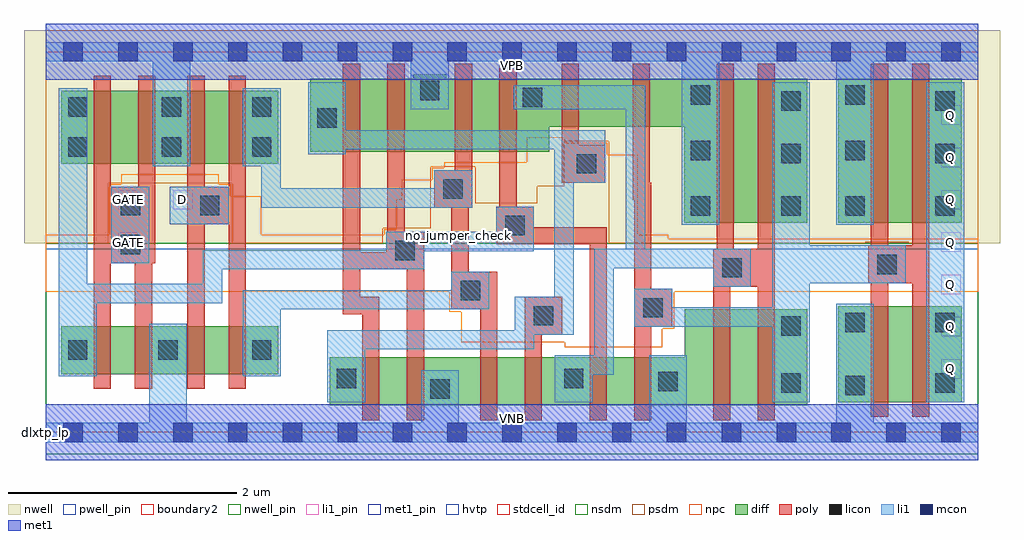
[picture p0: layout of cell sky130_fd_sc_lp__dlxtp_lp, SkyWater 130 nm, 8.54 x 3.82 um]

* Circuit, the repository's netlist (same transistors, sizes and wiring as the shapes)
* Copyright 2020 The SkyWater PDK Authors
*
* Licensed under the Apache License, Version 2.0 (the "License");
* you may not use this file except in compliance with the License.
* You may obtain a copy of the License at
*
*     https://www.apache.org/licenses/LICENSE-2.0
*
* Unless required by applicable law or agreed to in writing, software
* distributed under the License is distributed on an "AS IS" BASIS,
* WITHOUT WARRANTIES OR CONDITIONS OF ANY KIND, either express or implied.
* See the License for the specific language governing permissions and
* limitations under the License.
*
* SPDX-License-Identifier: Apache-2.0

.SUBCKT sky130_fd_sc_lp__dlxtp_lp D GATE VGND VNB VPB VPWR Q
*.PININFO D:I GATE:I VGND:I VNB:I VPB:I VPWR:I Q:O
MI635 clkpos clkneg net086 VPB sky130_fd_pr__pfet_01v8_hvt m=1 w=0.64U l=0.15U mult=1
+ sa=0.265 sb=0.265 sd=0.28 area=0.063 perim=1.14
MI17 M0 clkneg net51 VPB sky130_fd_pr__pfet_01v8_hvt m=1 w=0.64U l=0.15U mult=1
+ sa=0.265 sb=0.265 sd=0.28 area=0.063 perim=1.14
MI650 Q m1 net035 VPB sky130_fd_pr__pfet_01v8_hvt m=1 w=1.26U l=0.15U mult=1 sa=0.265
+ sb=0.265 sd=0.28 area=0.063 perim=1.14
MI633 clkneg GATE net078 VPB sky130_fd_pr__pfet_01v8_hvt m=1 w=0.64U l=0.15U mult=1
+ sa=0.265 sb=0.265 sd=0.28 area=0.063 perim=1.14
MI18 net51 db VPWR VPB sky130_fd_pr__pfet_01v8_hvt m=1 w=0.64U l=0.15U mult=1 sa=0.265
+ sb=0.265 sd=0.28 area=0.063 perim=1.14
MI653 net59 m1 VPWR VPB sky130_fd_pr__pfet_01v8_hvt m=1 w=0.42U l=0.15U mult=1
+ sa=0.265 sb=0.265 sd=0.28 area=0.063 perim=1.14
MI651 M0 clkpos net59 VPB sky130_fd_pr__pfet_01v8_hvt m=1 w=0.42U l=0.15U mult=1
+ sa=0.265 sb=0.265 sd=0.28 area=0.063 perim=1.14
MI655 m1 M0 net062 VPB sky130_fd_pr__pfet_01v8_hvt m=1 w=1.26U l=0.15U mult=1 sa=0.265
+ sb=0.265 sd=0.28 area=0.063 perim=1.14
MI638 db D net047 VPB sky130_fd_pr__pfet_01v8_hvt m=1 w=0.64U l=0.15U mult=1 sa=0.265
+ sb=0.265 sd=0.28 area=0.063 perim=1.14
MI29 net035 m1 VPWR VPB sky130_fd_pr__pfet_01v8_hvt m=1 w=1.26U l=0.15U mult=1
+ sa=0.265 sb=0.265 sd=0.28 area=0.063 perim=1.14
MI27 net062 M0 VPWR VPB sky130_fd_pr__pfet_01v8_hvt m=1 w=1.26U l=0.15U mult=1
+ sa=0.265 sb=0.265 sd=0.28 area=0.063 perim=1.14
MI25 net047 D VPWR VPB sky130_fd_pr__pfet_01v8_hvt m=1 w=0.64U l=0.15U mult=1 sa=0.265
+ sb=0.265 sd=0.28 area=0.063 perim=1.14
MI22 net086 clkneg VPWR VPB sky130_fd_pr__pfet_01v8_hvt m=1 w=0.64U l=0.15U mult=1
+ sa=0.265 sb=0.265 sd=0.28 area=0.063 perim=1.14
MI21 net078 GATE VPWR VPB sky130_fd_pr__pfet_01v8_hvt m=1 w=0.64U l=0.15U mult=1
+ sa=0.265 sb=0.265 sd=0.28 area=0.063 perim=1.14
MI634 clkneg GATE net0111 VNB sky130_fd_pr__nfet_01v8 m=1 w=0.42U l=0.15U mult=1
+ sa=0.265 sb=0.265 sd=0.28 area=0.063 perim=1.14
MI649 Q m1 net094 VNB sky130_fd_pr__nfet_01v8 m=1 w=0.84U l=0.15U mult=1 sa=0.265
+ sb=0.265 sd=0.28 area=0.063 perim=1.14
MI23 net0111 GATE VGND VNB sky130_fd_pr__nfet_01v8 m=1 w=0.42U l=0.15U mult=1 sa=0.265
+ sb=0.265 sd=0.28 area=0.063 perim=1.14
MI652 M0 clkneg net102 VNB sky130_fd_pr__nfet_01v8 m=1 w=0.42U l=0.15U mult=1 sa=0.265
+ sb=0.265 sd=0.28 area=0.063 perim=1.14
MI654 net102 m1 VGND VNB sky130_fd_pr__nfet_01v8 m=1 w=0.42U l=0.15U mult=1 sa=0.265
+ sb=0.265 sd=0.28 area=0.063 perim=1.14
MI656 m1 M0 net099 VNB sky130_fd_pr__nfet_01v8 m=1 w=0.84U l=0.15U mult=1 sa=0.265
+ sb=0.265 sd=0.28 area=0.063 perim=1.14
MI26 net0103 D VGND VNB sky130_fd_pr__nfet_01v8 m=1 w=0.42U l=0.15U mult=1 sa=0.265
+ sb=0.265 sd=0.28 area=0.063 perim=1.14
MI636 clkpos clkneg net0126 VNB sky130_fd_pr__nfet_01v8 m=1 w=0.42U l=0.15U mult=1
+ sa=0.265 sb=0.265 sd=0.28 area=0.063 perim=1.14
MI637 db D net0103 VNB sky130_fd_pr__nfet_01v8 m=1 w=0.42U l=0.15U mult=1 sa=0.265
+ sb=0.265 sd=0.28 area=0.063 perim=1.14
MI19 M0 clkpos net98 VNB sky130_fd_pr__nfet_01v8 m=1 w=0.42U l=0.15U mult=1 sa=0.265
+ sb=0.265 sd=0.28 area=0.063 perim=1.14
MI20 net98 db VGND VNB sky130_fd_pr__nfet_01v8 m=1 w=0.42U l=0.15U mult=1 sa=0.265
+ sb=0.265 sd=0.28 area=0.063 perim=1.14
MI30 net094 m1 VGND VNB sky130_fd_pr__nfet_01v8 m=1 w=0.84U l=0.15U mult=1 sa=0.265
+ sb=0.265 sd=0.28 area=0.063 perim=1.14
MI28 net099 M0 VGND VNB sky130_fd_pr__nfet_01v8 m=1 w=0.84U l=0.15U mult=1 sa=0.265
+ sb=0.265 sd=0.28 area=0.063 perim=1.14
MI24 net0126 clkneg VGND VNB sky130_fd_pr__nfet_01v8 m=1 w=0.42U l=0.15U mult=1
+ sa=0.265 sb=0.265 sd=0.28 area=0.063 perim=1.14
.ENDS sky130_fd_sc_lp__dlxtp_lp

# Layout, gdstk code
import gdstk
lib = gdstk.Library(unit=1e-6, precision=1e-09)
def R(c, l, rs):  # rectangles x0, y0, x1, y1
    for r in rs: c.add(gdstk.rectangle(r[:2], r[2:], *l))
def A(c, l, x, y, w, h, nx, ny, dx, dy):  # array of equal rectangles
    R(c, l, [(x+i*dx, y+j*dy, x+i*dx+w, y+j*dy+h) for i in range(nx) for j in range(ny)])
def P(c, l, *ps):  # polygons
    for p in ps: c.add(gdstk.Polygon(p, *l))
nwell_pin = (64, 16)
nwell = (64, 20)
diff = (65, 20)
poly = (66, 20)
licon = (66, 44)
li1_pin = (67, 16)
li1 = (67, 20)
mcon = (67, 44)
met1_pin = (68, 16)
met1 = (68, 20)
hvtp = (78, 44)
stdcell_id = (81, 4)
nsdm = (93, 44)
psdm = (94, 20)
npc = (95, 20)
pwell_pin = (122, 16)
boundary2 = (236, 0)

sky130_fd_sc_lp__dlxtp_l = lib.new_cell('sky130_fd_sc_lp__dlxtp_lp')
R(sky130_fd_sc_lp__dlxtp_l, nwell_pin, [(0,3.085,8.16,3.33)])
R(sky130_fd_sc_lp__dlxtp_l, nwell, [(-0.19,1.655,8.35,3.52)])
R(sky130_fd_sc_lp__dlxtp_l, diff, [(6.935,0.265,8.015,1.105), (0.135,0.51,2.035,0.93), (6.935,1.835,8.015,3.095), (0.135,2.35,2.035,2.99)])
P(sky130_fd_sc_lp__dlxtp_l, diff, [(6.665,3.095),(3.505,3.095),(3.505,3.135),(3.215,3.135),(3.215,3.095),(2.315,3.095),(2.315,2.455),(4.405,2.455),(4.405,2.675),(5.585,2.675),(5.585,1.835),(6.665,1.835)],
  [(6.665,1.075),(5.59,1.075),(5.59,0.655),(2.485,0.655),(2.485,0.235),(6.665,0.235)])
P(sky130_fd_sc_lp__dlxtp_l, poly, [(0.96,3.12),(0.81,3.12),(0.81,2.15),(0.57,2.15),(0.57,3.12),(0.42,3.12),(0.42,0.38),(0.57,0.38),(0.57,1.48),(0.78,1.48),(0.78,0.38),(0.93,0.38),(0.93,1.48),(0.96,1.48)],
  [(1.75,3.12),(1.6,3.12),(1.6,2.15),(1.39,2.15),(1.39,3.12),(1.24,3.12),(1.24,0.38),(1.39,0.38),(1.39,1.82),(1.6,1.82),(1.6,0.38),(1.75,0.38)],
  [(3.31,1.755),(3.14,1.755),(3.14,3.225),(2.99,3.225),(2.99,1.755),(2.98,1.755),(2.98,1.575),(2.75,1.575),(2.75,3.225),(2.6,3.225),(2.6,1.035),(2.77,1.035),(2.77,0.105),(2.92,0.105),(2.92,1.185),(2.75,1.185),(2.75,1.425),(3.16,1.425),(3.16,0.105),(3.31,0.105)],
  [(3.95,1.405),(3.7,1.405),(3.7,1.965),(3.73,1.965),(3.73,3.225),(3.58,3.225),(3.58,2.295),(3.4,2.295),(3.4,1.965),(3.55,1.965),(3.55,1.075),(3.8,1.075),(3.8,0.105),(3.95,0.105)],
  [(4.52,1.185),(4.19,1.185),(4.19,0.105),(4.34,0.105),(4.34,0.855),(4.52,0.855)],
  [(4.895,2.515),(4.665,2.515),(4.665,3.225),(4.515,3.225),(4.515,2.185),(4.895,2.185)],
  [(4.91,1.795),(4.27,1.795),(4.27,1.975),(4.12,1.975),(4.12,3.225),(3.97,3.225),(3.97,1.975),(3.94,1.975),(3.94,1.645),(4.76,1.645),(4.76,0.105),(4.91,0.105)],
  [(5.48,1.255),(5.3,1.255),(5.3,2.185),(5.285,2.185),(5.285,3.225),(5.135,3.225),(5.135,2.035),(5.15,2.035),(5.15,0.105),(5.3,0.105),(5.3,0.925),(5.48,0.925)],
  [(6.38,3.225),(6.23,3.225),(6.23,1.605),(6.02,1.605),(6.02,3.225),(5.87,3.225),(5.87,1.605),(5.84,1.605),(5.84,0.105),(5.99,0.105),(5.99,1.275),(6.23,1.275),(6.23,0.105),(6.38,0.105)],
  [(7.73,3.225),(7.58,3.225),(7.58,1.635),(7.37,1.635),(7.37,3.225),(7.22,3.225),(7.22,1.635),(7.195,1.635),(7.195,1.305),(7.22,1.305),(7.22,0.135),(7.37,0.135),(7.37,1.305),(7.58,1.305),(7.58,0.135),(7.73,0.135)])
A(sky130_fd_sc_lp__dlxtp_l, licon, 5.645, 1.895, 0.17, 0.17, 1, 3, 0, 0.485)
A(sky130_fd_sc_lp__dlxtp_l, licon, 6.435, 1.895, 0.17, 0.17, 1, 3, 0, 0.46)
A(sky130_fd_sc_lp__dlxtp_l, licon, 6.995, 1.895, 0.17, 0.17, 1, 3, 0, 0.485)
A(sky130_fd_sc_lp__dlxtp_l, licon, 7.785, 1.895, 0.17, 0.17, 1, 3, 0, 0.46)
R(sky130_fd_sc_lp__dlxtp_l, licon, [(3.365,0.295,3.535,0.465), (6.995,0.325,7.165,0.495), (6.435,0.345,6.605,0.515), (7.785,0.345,7.955,0.515), (5.36,0.36,5.53,0.53), (2.545,0.385,2.715,0.555), (4.535,0.385,4.705,0.555), (0.195,0.635,0.365,0.805), (0.985,0.635,1.155,0.805), (1.805,0.635,1.975,0.805), (6.435,0.845,6.605,1.015), (6.995,0.875,7.165,1.045), (7.785,0.875,7.955,1.045), (4.27,0.935,4.44,1.105), (5.23,1.005,5.4,1.175), (3.63,1.155,3.8,1.325), (5.92,1.355,6.09,1.525), (7.275,1.385,7.445,1.555), (3.06,1.505,3.23,1.675), (0.655,1.56,0.825,1.73), (4.02,1.725,4.19,1.895), (0.655,1.9,0.825,2.07), (1.35,1.9,1.52,2.07), (3.48,2.045,3.65,2.215), (4.645,2.265,4.815,2.435), (0.195,2.41,0.365,2.58), (1.015,2.41,1.185,2.58), (1.805,2.41,1.975,2.58), (2.375,2.665,2.545,2.835), (0.195,2.76,0.365,2.93), (1.015,2.76,1.185,2.93), (1.805,2.76,1.975,2.93), (4.175,2.845,4.345,3.015), (3.275,2.905,3.445,3.075)])
A(sky130_fd_sc_lp__dlxtp_l, li1_pin, 7.835, 0.47, 0.17, 0.17, 1, 7, 0, 0.37)
R(sky130_fd_sc_lp__dlxtp_l, li1_pin, [(0.635,1.58,0.805,1.75), (0.635,1.95,0.805,2.12), (1.115,1.95,1.285,2.12)])
R(sky130_fd_sc_lp__dlxtp_l, li1, [(7.705,0.265,8.035,3.065), (0.575,1.48,0.905,2.15), (1.085,1.82,1.6,2.15)])
P(sky130_fd_sc_lp__dlxtp_l, li1, [(0.935,2.33),(0.935,3.245),(0,3.245),(0,3.415),(8.16,3.415),(8.16,3.245),(7.245,3.245),(7.245,1.815),(6.915,1.815),(6.915,3.245),(5.895,3.245),(5.895,1.815),(5.565,1.815),(5.565,3.245),(3.525,3.245),(3.525,2.825),(3.195,2.825),(3.195,3.245),(1.265,3.245),(1.265,2.33)],
  [(0.905,0.085),(0.905,0.95),(1.235,0.95),(1.235,0.085),(3.285,0.085),(3.285,0.545),(3.615,0.545),(3.615,0.085),(5.28,0.085),(5.28,0.675),(5.61,0.675),(5.61,0.085),(6.915,0.085),(6.915,1.125),(7.245,1.125),(7.245,0.085),(8.16,0.085),(8.16,-0.085),(0,-0.085),(0,0.085)],
  [(3.94,1.755),(3.94,1.975),(4.27,1.975),(4.27,1.585),(3.31,1.585),(3.31,1.425),(1.545,1.425),(1.545,1.13),(0.445,1.13),(0.445,0.49),(0.115,0.49),(0.115,3.01),(0.365,3.01),(0.365,1.3),(1.375,1.3),(1.375,1.595),(2.98,1.595),(2.98,1.755)],
  [(1.885,1.965),(1.885,2.33),(1.725,2.33),(1.725,3.01),(2.055,3.01),(2.055,2.135),(3.4,2.135),(3.4,2.295),(3.73,2.295),(3.73,1.965)],
  [(4.45,2.475),(2.625,2.475),(2.625,2.435),(2.295,2.435),(2.295,3.065),(2.625,3.065),(2.625,2.645),(4.895,2.645),(4.895,2.185),(4.62,2.185),(4.62,0.855),(4.275,0.855),(4.275,0.725),(2.795,0.725),(2.795,0.265),(2.465,0.265),(2.465,0.895),(4.105,0.895),(4.105,1.185),(4.45,1.185)],
  [(4.8,1.605),(5.075,1.605),(5.075,2.825),(4.095,2.825),(4.095,3.035),(5.245,3.035),(5.245,1.605),(6.17,1.605),(6.17,1.275),(5.84,1.275),(5.84,1.435),(4.97,1.435),(4.97,0.505),(4.785,0.505),(4.785,0.265),(4.455,0.265),(4.455,0.675),(4.8,0.675)],
  [(5.48,1.095),(6.355,1.095),(6.355,3.065),(6.685,3.065),(6.685,1.635),(7.525,1.635),(7.525,1.305),(6.685,1.305),(6.685,0.265),(6.355,0.265),(6.355,0.925),(5.15,0.925),(5.15,1.255),(5.48,1.255)],
  [(3.55,1.245),(3.55,1.405),(3.88,1.405),(3.88,1.075),(2.055,1.075),(2.055,0.49),(1.725,0.49),(1.725,1.245)])
A(sky130_fd_sc_lp__dlxtp_l, mcon, 0.155, -0.085, 0.17, 0.17, 17, 2, 0.48, 3.33)
R(sky130_fd_sc_lp__dlxtp_l, met1_pin, [(0,0,8.16,0.245), (0,3.085,8.16,3.33)])
R(sky130_fd_sc_lp__dlxtp_l, met1, [(0,-0.245,8.16,0.245), (0,3.085,8.16,3.575)])
R(sky130_fd_sc_lp__dlxtp_l, hvtp, [(0,1.6,8.16,3.33)])
R(sky130_fd_sc_lp__dlxtp_l, stdcell_id, [(0,0,8.16,3.33)])
R(sky130_fd_sc_lp__dlxtp_l, nsdm, [(0,-0.19,8.16,1.655)])
P(sky130_fd_sc_lp__dlxtp_l, psdm, [(8.16,3.52),(0,3.52),(0,1.655),(0.545,1.655),(0.545,2.18),(1.63,2.18),(1.63,1.655),(2.95,1.655),(2.95,1.785),(3.37,1.785),(3.37,2.325),(3.76,2.325),(3.76,2.005),(4.3,2.005),(4.3,2.155),(4.535,2.155),(4.535,2.545),(4.925,2.545),(4.925,1.655),(7.165,1.655),(7.165,1.665),(7.555,1.665),(7.555,1.655),(8.16,1.655)])
P(sky130_fd_sc_lp__dlxtp_l, npc, [(8.16,1.695),(5.445,1.695),(5.445,1.73),(5.18,1.73),(5.18,2.43),(4.915,2.43),(4.915,2.535),(4.545,2.535),(4.545,2.58),(4.21,2.58),(4.21,2.365),(3.485,2.365),(3.485,2.315),(3.38,2.315),(3.38,2.21),(3.115,2.21),(3.115,2.04),(3.065,2.04),(3.065,1.775),(2.96,1.775),(2.96,1.73),(1.885,1.73),(1.885,2.065),(1.62,2.065),(1.62,2.17),(1.515,2.17),(1.515,2.26),(0.66,2.26),(0.66,2.17),(0.555,2.17),(0.555,1.73),(0,1.73),(0,1.23),(3.53,1.23),(3.53,1.055),(3.635,1.055),(3.635,0.79),(4.54,0.79),(4.54,0.745),(5.395,0.745),(5.395,0.905),(5.5,0.905),(5.5,1.23),(8.16,1.23)])
R(sky130_fd_sc_lp__dlxtp_l, pwell_pin, [(0,0,8.16,0.245)])
R(sky130_fd_sc_lp__dlxtp_l, boundary2, [(0,0,8.16,3.33)])
sky130_fd_sc_lp__dlxtp_l.add(gdstk.Label('VNB', (4.08,0.123), layer=64, texttype=59))
sky130_fd_sc_lp__dlxtp_l.add(gdstk.Label('VPB', (4.08,3.208), layer=64, texttype=5))
sky130_fd_sc_lp__dlxtp_l.add(gdstk.Label('dlxtp_lp', (0,0), layer=83, texttype=44))
sky130_fd_sc_lp__dlxtp_l.add(gdstk.Label('no_jumper_check', (3.61,1.72), layer=83, texttype=44))
sky130_fd_sc_lp__dlxtp_l.add(gdstk.Label('VPWR', (4.08,3.208), layer=68, texttype=5))
sky130_fd_sc_lp__dlxtp_l.add(gdstk.Label('VGND', (4.08,0.123), layer=68, texttype=5))
sky130_fd_sc_lp__dlxtp_l.add(gdstk.Label('GATE', (0.72,1.665), layer=67, texttype=5))
sky130_fd_sc_lp__dlxtp_l.add(gdstk.Label('GATE', (0.72,2.035), layer=67, texttype=5))
sky130_fd_sc_lp__dlxtp_l.add(gdstk.Label('Q', (7.92,0.555), layer=67, texttype=5))
sky130_fd_sc_lp__dlxtp_l.add(gdstk.Label('Q', (7.92,0.925), layer=67, texttype=5))
sky130_fd_sc_lp__dlxtp_l.add(gdstk.Label('Q', (7.92,1.295), layer=67, texttype=5))
sky130_fd_sc_lp__dlxtp_l.add(gdstk.Label('Q', (7.92,1.665), layer=67, texttype=5))
sky130_fd_sc_lp__dlxtp_l.add(gdstk.Label('Q', (7.92,2.035), layer=67, texttype=5))
sky130_fd_sc_lp__dlxtp_l.add(gdstk.Label('Q', (7.92,2.405), layer=67, texttype=5))
sky130_fd_sc_lp__dlxtp_l.add(gdstk.Label('Q', (7.92,2.775), layer=67, texttype=5))
sky130_fd_sc_lp__dlxtp_l.add(gdstk.Label('D', (1.2,2.035), layer=67, texttype=5))

lib.write_gds('sky130_fd_sc_lp__dlxtp_lp.gds')
